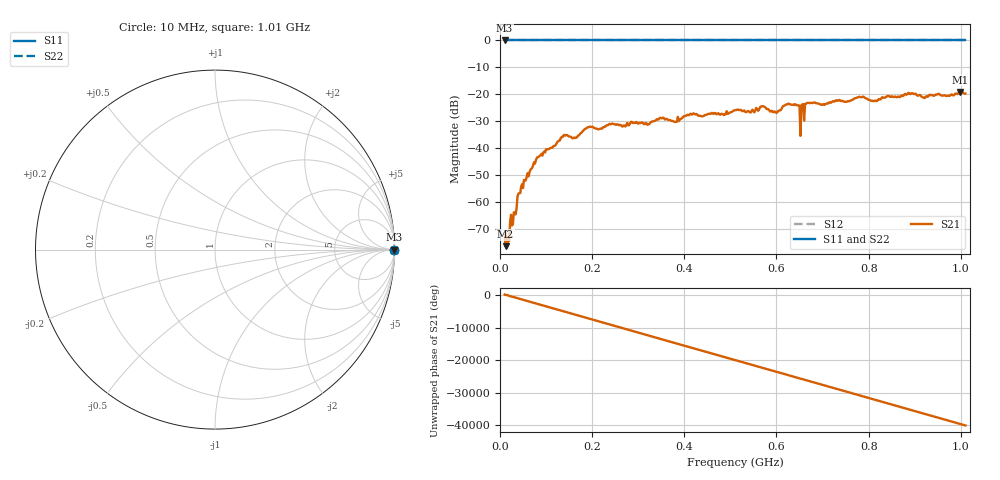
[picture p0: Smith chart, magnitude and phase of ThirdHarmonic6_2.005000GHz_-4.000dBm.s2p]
! 8/17/2025 12:04:53 AM
! C:\ANRITSUVNA\TEMP\TEMP.S2P
! CHANNEL.1
! TR.MEASUREMENT
! RAW.DATA
! RF.CORRECTION.OFF
! AVERAGING.OFF
! IF.BANDWIDTH: 5KHZ
! SWEEPTYPE:  FREQ.SWEEP(Linear)
! Reference Plane Port Info
! PORT:  PORT1  PORT2
! DISTANCE:  0  m  0  m
! TIME:  0  s  0  s
! PHASE.OFFSET:  0  deg.  0  deg.
! LOSS:  0  dB  0  dB
! REF.LOSS:  0  dB  0  dB
! REF.FREQ:  0  Hz  0  Hz
! Power Info
! POWER:  -20  dBm  -20  dBm
! EFF.POWER:  -20  dBm  -20  dBm
! SOURCE.ATTEN:  0  dB  0  dB
! TEST.ATTEN:  0  dB  0  dB
# GHZ S RI R 50.0
! FREQ.GHZ  S11RE  S11IM  S21RE  S21IM  S12RE  S12IM  S22RE  S22IM
!; PortSelection: Port_12
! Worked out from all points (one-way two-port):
!   501 points, 10 MHz to 1.01 GHz, reference 50 ohm
!   highest |S21| = -19.12 dB at 998 MHz (marker M1); lowest = -76.2 dB at 12 MHz (marker M2)
!   lowest |S11| = 0.0 dB at 10 MHz (marker M3)
!   |S11| at or under -10 dB: nowhere
!   |S22| runs from 0.0 to 0.0 dB; largest |S21 - S12| = 1.1
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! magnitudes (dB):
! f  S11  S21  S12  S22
! 10 MHz  0.0  -71.4  0.0  0.0
! 12 MHz  0.0  -76.2  0.0  0.0
! 16 MHz  0.0  -74.9  0.0  0.0
! 44 MHz  0.0  -56.5  0.0  0.0
! 82 MHz  0.0  -43.2  0.0  0.0
! 136 MHz  0.0  -35.8  0.0  0.0
! 178 MHz  0.0  -33.9  0.0  0.0
! 344 MHz  0.0  -29.3  0.0  0.0
! 380 MHz  0.0  -30.2  0.0  0.0
! 416 MHz  0.0  -27.5  0.0  0.0
! 510 MHz  0.0  -25.8  0.0  0.0
! 570 MHz  0.0  -24.3  0.0  0.0
! 598 MHz  0.0  -26.6  0.0  0.0
! 628 MHz  0.0  -23.6  0.0  0.0
! 646 MHz  0.0  -24.1  0.0  0.0
! 648 MHz  0.0  -24.0  0.0  0.0
! 656 MHz  0.0  -23.7  0.0  0.0
! 666 MHz  0.0  -23.2  0.0  0.0
! 678 MHz  0.0  -23.2  0.0  0.0
! 844 MHz  0.0  -20.6  0.0  0.0
! 998 MHz  0.0  -19.1  0.0  0.0
! 1.01 GHz  0.0  -19.7  0.0  0.0
